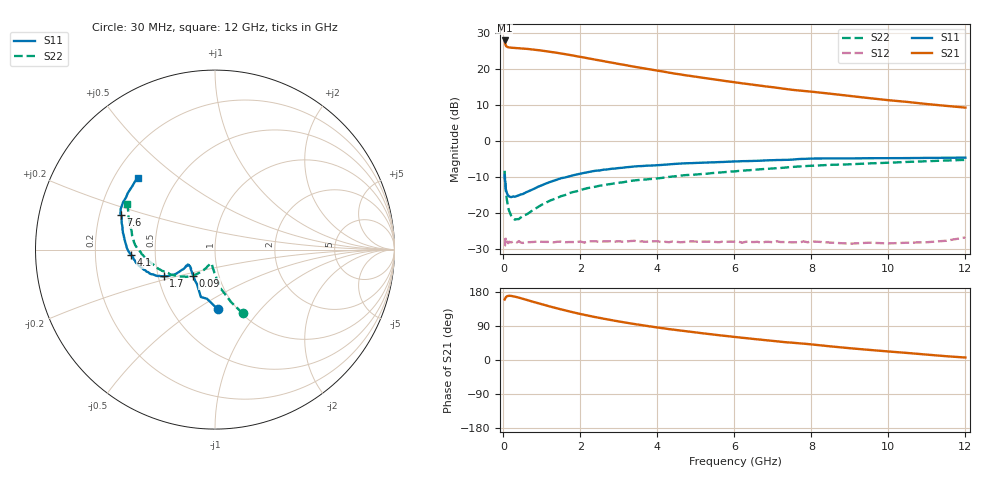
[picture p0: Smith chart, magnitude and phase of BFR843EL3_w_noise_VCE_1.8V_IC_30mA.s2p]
! Infineon Technologies  Discrete & RF Semiconductors
! BFR843EL3
! VCE =  1.8 V,  IC =  30 mA
! Common Emitter S-Parameters:  Aug 2013
# GHz  S  MA  R  50
!  f  S11  S21  S12  S22
! GHz  MAG  ANG  MAG  ANG  MAG  ANG  MAG  ANG
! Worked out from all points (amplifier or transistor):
!   103 points, 30 MHz to 12 GHz, reference 50 ohm
!   highest |S21| = 27.9 dB at 30 MHz (marker M1)
!   |S21| within 3 dB of that: start of sweep to 1.117 GHz
!   unconditionally stable (mu >= 1): 194.7 MHz to 214.6 MHz; 418.6 MHz to 601.6 MHz; 3.439 GHz to end of sweep (the widest 3 of 4)
!   at 400 MHz: K = 1.00, MSG = 26.7 dB, |S12| = -27.7 dB
!   at 3.7 GHz: K = 1.03, MAG = 22.9 dB, |S12| = -27.9 dB
!   at 12 GHz: K = 1.89, MAG = 12.6 dB, |S12| = -26.7 dB
!   lowest NFmin = 1.34 dB at 900 MHz
!   S11 on the Smith chart (normalised r, x): 30 MHz: 0.82, -0.62; 90 MHz: 0.75, -0.23; 1.7 GHz: 0.53, -0.18; 4.1 GHz: 0.36, -0.03; 7.6 GHz: 0.29, +0.16; 12 GHz: 0.30, +0.36
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0.03  0.3337 -87.1  24.87 159.5  0.0349 25.9  0.388 -66.5
0.04  0.2773 -99.3  23.03 161.5  0.0355 19.4  0.3047 -73.1
0.06  0.2167 -117.7  21.2 165.2  0.0443 13.4  0.2142 -82.5
0.09  0.19 -129.9  20.38 167.9  0.0395 9.4  0.1525 -87.7
0.15  0.1702 -141.5  19.89 169.5  0.0402 4.1  0.1074 -96.0
0.2  0.167 -146.8  19.73 169.1  0.0393 4.0  0.0923 -99.1
0.35  0.1733 -151.2  19.46 165.9  0.0393 3.1  0.0827 -107.9
0.6  0.1963 -148.8  19.02 158.7  0.0396 2.1  0.096 -112.3
1  0.2445 -148.2  17.96 147.1  0.0401 3.3  0.1316 -119.2
1.4  0.2931 -150.2  16.73 136.1  0.0402 3.0  0.1634 -125.5
1.7  0.3231 -152.5  15.73 128.5  0.0398 4.5  0.1888 -129.9
2.1  0.3627 -156.7  14.39 119.2  0.0391 5.8  0.217 -135.8
2.6  0.4014 -162.3  12.85 109.0  0.0406 4.8  0.2444 -142.3
3.1  0.4275 -167.1  11.51 100.0  0.0403 5.2  0.2684 -147.8
3.5  0.449 -171.3  10.52 93.4  0.0404 6.3  0.2885 -152.1
4.1  0.467 -176.2  9.299 84.4  0.0397 6.3  0.3078 -156.8
5.1  0.5001 175.7  7.661 71.4  0.0398 9.4  0.3479 -165.3
6.1  0.5233 168.8  6.44 59.9  0.0404 10.6  0.3851 -172.2
7.6  0.5598 159.8  5.078 44.8  0.0395 13.0  0.442 177.4
8.5  0.576 152.7  4.534 35.9  0.0391 14.2  0.4683 170.4
10.5  0.581 142.2  3.49 18.5  0.039 25.6  0.5145 159.4
12  0.589 137.0  2.914 6.5  0.0462 35.9  0.5491 152.7
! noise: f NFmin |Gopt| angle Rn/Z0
0.45  1.35  0.17  172  0.13
0.9  1.34  0.17  168  0.12
1.5  1.34  0.19  166  0.11
1.9  1.34  0.19  168  0.1
2.4  1.34  0.2  171  0.11
3.5  1.35  0.22  176  0.11
5.5  1.36  0.29  190  0.1
8  1.38  0.39  206  0.09
10  1.4  0.49  225  0.1
